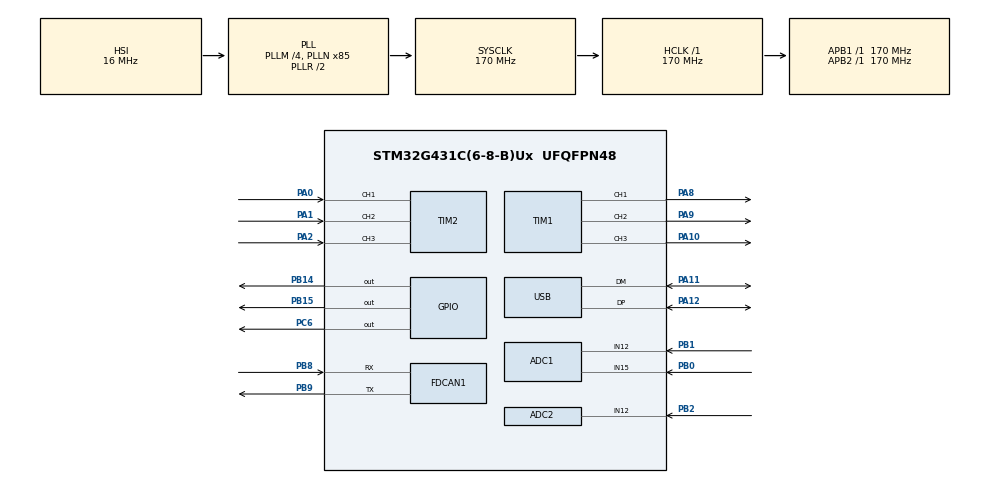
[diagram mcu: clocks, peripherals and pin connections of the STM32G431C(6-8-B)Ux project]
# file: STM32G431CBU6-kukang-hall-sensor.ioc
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ADC1.Channel-0\#ChannelRegularConversion=ADC_CHANNEL_15
ADC1.NbrOfConversionFlag=1
ADC1.OffsetNumber-0\#ChannelRegularConversion=ADC_OFFSET_NONE
ADC1.Rank-0\#ChannelRegularConversion=1
ADC1.SamplingTime-0\#ChannelRegularConversion=ADC_SAMPLETIME_2CYCLES_5
ADC1.master=1
ADC2.Channel-0\#ChannelRegularConversion=ADC_CHANNEL_12
ADC2.NbrOfConversionFlag=1
ADC2.OffsetNumber-0\#ChannelRegularConversion=ADC_OFFSET_NONE
ADC2.Rank-0\#ChannelRegularConversion=1
ADC2.SamplingTime-0\#ChannelRegularConversion=ADC_SAMPLETIME_2CYCLES_5
FDCAN1.CalculateBaudRateNominal=3541666
FDCAN1.CalculateTimeBitNominal=282
FDCAN1.CalculateTimeQuantumNominal=94.11764705882354
Mcu.Family=STM32G4
Mcu.Name=STM32G431C(6-8-B)Ux
Mcu.Package=UFQFPN48
NVIC.CORDIC_IRQn=true\:0\:0\:false\:false\:true\:true\:true\:true
NVIC.FDCAN1_IT0_IRQn=true\:0\:0\:false\:false\:true\:true\:true\:true
NVIC.FDCAN1_IT1_IRQn=true\:0\:0\:false\:false\:true\:true\:true\:true
NVIC.FMAC_IRQn=true\:0\:0\:false\:false\:true\:true\:true\:true
NVIC.PriorityGroup=NVIC_PRIORITYGROUP_4
NVIC.TIM1_BRK_TIM15_IRQn=true\:0\:0\:false\:false\:true\:true\:true\:true
NVIC.TIM1_CC_IRQn=true\:0\:0\:false\:false\:true\:true\:true\:true
NVIC.TIM1_TRG_COM_TIM17_IRQn=true\:0\:0\:false\:false\:true\:true\:true\:true
NVIC.TIM1_UP_TIM16_IRQn=true\:0\:0\:false\:false\:true\:true\:true\:true
NVIC.TIM2_IRQn=true\:0\:0\:false\:false\:true\:true\:true\:true
NVIC.USB_LP_IRQn=true\:0\:0\:false\:false\:true\:false\:true\:true
PA0.Signal=S_TIM2_CH1
PA1.Signal=S_TIM2_CH2
PA10.Signal=S_TIM1_CH3
PA11.Mode=Device
PA11.Signal=USB_DM
PA12.Mode=Device
PA12.Signal=USB_DP
PA13.Mode=Serial_Wire
PA13.Signal=SYS_JTMS-SWDIO
PA14.Mode=Serial_Wire
PA14.Signal=SYS_JTCK-SWCLK
PA2.Signal=S_TIM2_CH3
PA8.Signal=S_TIM1_CH1
PA9.Signal=S_TIM1_CH2
PB0.Mode=IN15-Single-Ended
PB0.Signal=ADC1_IN15
PB1.Mode=IN12-Single-Ended
PB1.Signal=ADC1_IN12
PB14.Signal=GPIO_Output
PB15.Signal=GPIO_Output
PB2.Mode=IN12-Single-Ended
PB2.Signal=ADC2_IN12
PB8-BOOT0.Mode=FDCAN_Activate
PB8-BOOT0.Signal=FDCAN1_RX
PB9.Mode=FDCAN_Activate
PB9.Signal=FDCAN1_TX
PC14-OSC32_IN.Mode=LSE-External-Oscillator
PC14-OSC32_IN.Signal=RCC_OSC32_IN
PC15-OSC32_OUT.Mode=LSE-External-Oscillator
PC15-OSC32_OUT.Signal=RCC_OSC32_OUT
PC6.Signal=GPIO_Output
PF0-OSC_IN.Mode=HSE-External-Oscillator
PF0-OSC_IN.Signal=RCC_OSC_IN
PF1-OSC_OUT.Mode=HSE-External-Oscillator
PF1-OSC_OUT.Signal=RCC_OSC_OUT
ProjectManager.HeapSize=0x200
ProjectManager.StackSize=0x400
ProjectManager.TargetToolchain=STM32CubeIDE
RCC.ADC12Freq_Value=170000000
RCC.AHBFreq_Value=170000000
RCC.APB1Freq_Value=170000000
RCC.APB1TimFreq_Value=170000000
RCC.APB2Freq_Value=170000000
RCC.APB2TimFreq_Value=170000000
RCC.CK48CLockSelection=RCC_USBCLKSOURCE_HSI48
RCC.CortexFreq_Value=170000000
RCC.EXTERNAL_CLOCK_VALUE=12288000
RCC.HCLKFreq_Value=170000000
RCC.HSE_VALUE=8000000
RCC.HSI48_VALUE=48000000
RCC.HSI_VALUE=16000000
RCC.PLLM=RCC_PLLM_DIV4
RCC.PLLN=85
RCC.PLLQ=RCC_PLLQ_DIV4
RCC.SYSCLKFreq_VALUE=170000000
RCC.SYSCLKSource=RCC_SYSCLKSOURCE_PLLCLK
RCC.USBFreq_Value=48000000
RCC.VCOOutputFreq_Value=340000000
SH.S_TIM1_CH1.0=TIM1_CH1,PWM Generation1 CH1
SH.S_TIM1_CH2.0=TIM1_CH2,PWM Generation2 CH2
SH.S_TIM1_CH3.0=TIM1_CH3,PWM Generation3 CH3
SH.S_TIM2_CH1.0=TIM2_CH1,Xored_Inputs_Hall_Sensor_Interface
SH.S_TIM2_CH2.0=TIM2_CH2,Xored_Inputs_Hall_Sensor_Interface
SH.S_TIM2_CH3.0=TIM2_CH3,Xored_Inputs_Hall_Sensor_Interface
TIM1.Channel-PWM\ Generation1\ CH1=TIM_CHANNEL_1
TIM1.Channel-PWM\ Generation2\ CH2=TIM_CHANNEL_2
TIM1.Channel-PWM\ Generation3\ CH3=TIM_CHANNEL_3
TIM1.Channel-PWM\ Generation4\ No\ Output=TIM_CHANNEL_4
USB_DEVICE.CLASS_NAME_FS=CDC
USB_DEVICE.VirtualMode=Cdc
USB_DEVICE.VirtualModeFS=Cdc_FS
VP_CORDIC_VS_CORDIC.Mode=CORDIC_Activate
VP_FMAC_VS_FMAC.Mode=FMAC_Activate
VP_SYS_VS_DBSignals.Mode=DisableDeadBatterySignals
VP_TIM1_VS_no_output4.Mode=PWM Generation4 No Output
VP_USB_DEVICE_VS_USB_DEVICE_CDC_FS.Mode=CDC_FS
board=custom

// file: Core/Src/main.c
/* USER CODE BEGIN Header */
/**
  ******************************************************************************
  * @file           : main.c
  * @brief          : Main program body
  ******************************************************************************
  * @attention
  *
  * Copyright (c) 2026 STMicroelectronics.
  * All rights reserved.
  *
  * This software is licensed under terms that can be found in the LICENSE file
  * in the root directory of this software component.
  * If no LICENSE file comes with this software, it is provided AS-IS.
  *
  ******************************************************************************
  */
/* USER CODE END Header */
#include "main.h"
#include "usb_device.h"

/* USER CODE BEGIN Includes */
#include "config.h"
#include "hub_motor_ebike.h"
#if (CONTROL_ALGORITHM == CONTROL_FOC)
#include "foc.h"
#elif (CONTROL_ALGORITHM == CONTROL_SIX_STEP)
#include "six_step.h"
#endif
/* USER CODE END Includes */

ADC_HandleTypeDef hadc1;
ADC_HandleTypeDef hadc2;

CORDIC_HandleTypeDef hcordic;

FDCAN_HandleTypeDef hfdcan1;

FMAC_HandleTypeDef hfmac;

TIM_HandleTypeDef htim1;
TIM_HandleTypeDef htim2;

/* USER CODE BEGIN PV */
uint8_t usb_rx_buffer[64];
uint8_t usb_rx_index = 0;
uint8_t usb_cmd_ready = 0;
/* USER CODE END PV */

void SystemClock_Config(void);
static void MX_GPIO_Init(void);
static void MX_CORDIC_Init(void);
static void MX_FMAC_Init(void);
static void MX_TIM1_Init(void);
static void MX_ADC1_Init(void);
static void MX_ADC2_Init(void);
static void MX_FDCAN1_Init(void);
static void MX_TIM2_Init(void);
/* USER CODE BEGIN PFP */
void Process_USB_Receive(uint8_t *Buf, uint32_t Len);
void Parse_USB_Command(void);
/* USER CODE END PFP */

/* USER CODE BEGIN 0 */
void Process_USB_Receive(uint8_t *Buf, uint32_t Len) {
  for (uint32_t i = 0; i < Len; i++) {
    if (usb_rx_index < sizeof(usb_rx_buffer) - 1) {
      usb_rx_buffer[usb_rx_index++] = Buf[i];
      if (Buf[i] == '\n' || Buf[i] == '\r') {
        usb_cmd_ready = 1;
      }
    } else {
      usb_rx_index = 0; // Overflow, reset
    }
  }
}

void Parse_USB_Command(void) {
  if (usb_cmd_ready) {
    // Strip trailing \r or \n
    for (int i = 0; i < usb_rx_index; i++) {
      if (usb_rx_buffer[i] == '\r' || usb_rx_buffer[i] == '\n') {
        usb_rx_buffer[i] = '\0';
        break;
      }
    }
    usb_rx_buffer[usb_rx_index] = '\0';

    Config_ParseCommand((char *)usb_rx_buffer);

    usb_rx_index = 0;
    usb_cmd_ready = 0;
  }
}
/* USER CODE END 0 */

int main(void)
{

  /* MCU Configuration--------------------------------------------------------*/

  /* Reset of all peripherals, Initializes the Flash interface and the Systick. */
  HAL_Init();

  /* Configure the system clock */
  SystemClock_Config();

  /* Initialize all configured peripherals */
  MX_GPIO_Init();
  MX_CORDIC_Init();
  MX_FMAC_Init();
  MX_TIM1_Init();
  MX_ADC1_Init();
  MX_ADC2_Init();
  MX_FDCAN1_Init();
  MX_TIM2_Init();
  MX_USB_Device_Init();
  /* USER CODE BEGIN 2 */
  Config_Init();
  Config_ApplyPWMFrequency();

#if (CONTROL_ALGORITHM == CONTROL_FOC)
  FOC_Init();
#elif (CONTROL_ALGORITHM == CONTROL_SIX_STEP)
  SixStep_Init();
#endif

  // Start PWM
  HAL_TIM_PWM_Start(&htim1, TIM_CHANNEL_1);
  HAL_TIM_PWM_Start(&htim1, TIM_CHANNEL_2);
  HAL_TIM_PWM_Start(&htim1, TIM_CHANNEL_3);

  // Enable DWT Cycle Counter (optional, good for profiling)
  CoreDebug->DEMCR |= CoreDebug_DEMCR_TRCENA_Msk;
  DWT->CYCCNT = 0;
  DWT->CTRL |= DWT_CTRL_CYCCNTENA_Msk;

  uint32_t last_verbose_time = HAL_GetTick();
  /* USER CODE END 2 */

  /* Infinite loop */
  while (1)
  {

    /* USER CODE BEGIN 3 */
#if (CONTROL_ALGORITHM == CONTROL_FOC)
    FOC_Update();
#elif (CONTROL_ALGORITHM == CONTROL_SIX_STEP)
    SixStep_Update();
#endif

    Parse_USB_Command();

    if (motor_config.verbose_output == 1) {
      if (HAL_GetTick() - last_verbose_time >= motor_config.verbose_period) {
        last_verbose_time = HAL_GetTick();
#if (CONTROL_ALGORITHM == CONTROL_FOC)
        FOC_PrintVerbose();
#elif (CONTROL_ALGORITHM == CONTROL_SIX_STEP)
        SixStep_PrintVerbose();
#endif
      }
    }
  }
  /* USER CODE END 3 */
}

void SystemClock_Config(void)
{
  RCC_OscInitTypeDef RCC_OscInitStruct = {0};
  RCC_ClkInitTypeDef RCC_ClkInitStruct = {0};

  /** Configure the main internal regulator output voltage
  */
  HAL_PWREx_ControlVoltageScaling(PWR_REGULATOR_VOLTAGE_SCALE1_BOOST);

  /** Initializes the RCC Oscillators according to the specified parameters
  * in the RCC_OscInitTypeDef structure.
  */
  RCC_OscInitStruct.OscillatorType = RCC_OSCILLATORTYPE_HSI|RCC_OSCILLATORTYPE_HSI48;
  RCC_OscInitStruct.HSIState = RCC_HSI_ON;
  RCC_OscInitStruct.HSICalibrationValue = RCC_HSICALIBRATION_DEFAULT;
  RCC_OscInitStruct.HSI48State = RCC_HSI48_ON;
  RCC_OscInitStruct.PLL.PLLState = RCC_PLL_ON;
  RCC_OscInitStruct.PLL.PLLSource = RCC_PLLSOURCE_HSI;
  RCC_OscInitStruct.PLL.PLLM = RCC_PLLM_DIV4;
  RCC_OscInitStruct.PLL.PLLN = 85;
  RCC_OscInitStruct.PLL.PLLP = RCC_PLLP_DIV2;
  RCC_OscInitStruct.PLL.PLLQ = RCC_PLLQ_DIV4;
  RCC_OscInitStruct.PLL.PLLR = RCC_PLLR_DIV2;
  if (HAL_RCC_OscConfig(&RCC_OscInitStruct) != HAL_OK)
  {
    Error_Handler();
  }

  /** Initializes the CPU, AHB and APB buses clocks
  */
  RCC_ClkInitStruct.ClockType = RCC_CLOCKTYPE_HCLK|RCC_CLOCKTYPE_SYSCLK
                              |RCC_CLOCKTYPE_PCLK1|RCC_CLOCKTYPE_PCLK2;
  RCC_ClkInitStruct.SYSCLKSource = RCC_SYSCLKSOURCE_PLLCLK;
  RCC_ClkInitStruct.AHBCLKDivider = RCC_SYSCLK_DIV1;
  RCC_ClkInitStruct.APB1CLKDivider = RCC_HCLK_DIV1;
  RCC_ClkInitStruct.APB2CLKDivider = RCC_HCLK_DIV1;

  if (HAL_RCC_ClockConfig(&RCC_ClkInitStruct, FLASH_LATENCY_4) != HAL_OK)
  {
    Error_Handler();
  }
}

static void MX_ADC1_Init(void)
{

  ADC_MultiModeTypeDef multimode = {0};
  ADC_ChannelConfTypeDef sConfig = {0};

  /** Common config
  */
  hadc1.Instance = ADC1;
  hadc1.Init.ClockPrescaler = ADC_CLOCK_SYNC_PCLK_DIV4;
  hadc1.Init.Resolution = ADC_RESOLUTION_12B;
  hadc1.Init.DataAlign = ADC_DATAALIGN_RIGHT;
  hadc1.Init.GainCompensation = 0;
  hadc1.Init.ScanConvMode = ADC_SCAN_DISABLE;
  hadc1.Init.EOCSelection = ADC_EOC_SINGLE_CONV;
  hadc1.Init.LowPowerAutoWait = DISABLE;
  hadc1.Init.ContinuousConvMode = DISABLE;
  hadc1.Init.NbrOfConversion = 1;
  hadc1.Init.DiscontinuousConvMode = DISABLE;
  hadc1.Init.ExternalTrigConv = ADC_SOFTWARE_START;
  hadc1.Init.ExternalTrigConvEdge = ADC_EXTERNALTRIGCONVEDGE_NONE;
  hadc1.Init.DMAContinuousRequests = DISABLE;
  hadc1.Init.Overrun = ADC_OVR_DATA_PRESERVED;
  hadc1.Init.OversamplingMode = DISABLE;
  if (HAL_ADC_Init(&hadc1) != HAL_OK)
  {
    Error_Handler();
  }

  /** Configure the ADC multi-mode
  */
  multimode.Mode = ADC_MODE_INDEPENDENT;
  if (HAL_ADCEx_MultiModeConfigChannel(&hadc1, &multimode) != HAL_OK)
  {
    Error_Handler();
  }

  /** Configure Regular Channel
  */
  sConfig.Channel = ADC_CHANNEL_15;
  sConfig.Rank = ADC_REGULAR_RANK_1;
  sConfig.SamplingTime = ADC_SAMPLETIME_2CYCLES_5;
  sConfig.SingleDiff = ADC_SINGLE_ENDED;
  sConfig.OffsetNumber = ADC_OFFSET_NONE;
  sConfig.Offset = 0;
  if (HAL_ADC_ConfigChannel(&hadc1, &sConfig) != HAL_OK)
  {
    Error_Handler();
  }

}

static void MX_ADC2_Init(void)
{

  ADC_ChannelConfTypeDef sConfig = {0};

  /** Common config
  */
  hadc2.Instance = ADC2;
  hadc2.Init.ClockPrescaler = ADC_CLOCK_SYNC_PCLK_DIV4;
  hadc2.Init.Resolution = ADC_RESOLUTION_12B;
  hadc2.Init.DataAlign = ADC_DATAALIGN_RIGHT;
  hadc2.Init.GainCompensation = 0;
  hadc2.Init.ScanConvMode = ADC_SCAN_DISABLE;
  hadc2.Init.EOCSelection = ADC_EOC_SINGLE_CONV;
  hadc2.Init.LowPowerAutoWait = DISABLE;
  hadc2.Init.ContinuousConvMode = DISABLE;
  hadc2.Init.NbrOfConversion = 1;
  hadc2.Init.DiscontinuousConvMode = DISABLE;
  hadc2.Init.ExternalTrigConv = ADC_SOFTWARE_START;
  hadc2.Init.ExternalTrigConvEdge = ADC_EXTERNALTRIGCONVEDGE_NONE;
  hadc2.Init.DMAContinuousRequests = DISABLE;
  hadc2.Init.Overrun = ADC_OVR_DATA_PRESERVED;
  hadc2.Init.OversamplingMode = DISABLE;
  if (HAL_ADC_Init(&hadc2) != HAL_OK)
  {
    Error_Handler();
  }

  /** Configure Regular Channel
  */
  sConfig.Channel = ADC_CHANNEL_12;
  sConfig.Rank = ADC_REGULAR_RANK_1;
  sConfig.SamplingTime = ADC_SAMPLETIME_2CYCLES_5;
  sConfig.SingleDiff = ADC_SINGLE_ENDED;
  sConfig.OffsetNumber = ADC_OFFSET_NONE;
  sConfig.Offset = 0;
  if (HAL_ADC_ConfigChannel(&hadc2, &sConfig) != HAL_OK)
  {
    Error_Handler();
  }

}

static void MX_CORDIC_Init(void)
{

  hcordic.Instance = CORDIC;
  if (HAL_CORDIC_Init(&hcordic) != HAL_OK)
  {
    Error_Handler();
  }

}

static void MX_FDCAN1_Init(void)
{

  hfdcan1.Instance = FDCAN1;
  hfdcan1.Init.ClockDivider = FDCAN_CLOCK_DIV1;
  hfdcan1.Init.FrameFormat = FDCAN_FRAME_CLASSIC;
  hfdcan1.Init.Mode = FDCAN_MODE_NORMAL;
  hfdcan1.Init.AutoRetransmission = DISABLE;
  hfdcan1.Init.TransmitPause = DISABLE;
  hfdcan1.Init.ProtocolException = DISABLE;
  hfdcan1.Init.NominalPrescaler = 16;
  hfdcan1.Init.NominalSyncJumpWidth = 1;
  hfdcan1.Init.NominalTimeSeg1 = 1;
  hfdcan1.Init.NominalTimeSeg2 = 1;
  hfdcan1.Init.DataPrescaler = 1;
  hfdcan1.Init.DataSyncJumpWidth = 1;
  hfdcan1.Init.DataTimeSeg1 = 1;
  hfdcan1.Init.DataTimeSeg2 = 1;
  hfdcan1.Init.StdFiltersNbr = 0;
  hfdcan1.Init.ExtFiltersNbr = 0;
  hfdcan1.Init.TxFifoQueueMode = FDCAN_TX_FIFO_OPERATION;
  if (HAL_FDCAN_Init(&hfdcan1) != HAL_OK)
  {
    Error_Handler();
  }

}

static void MX_FMAC_Init(void)
{

  hfmac.Instance = FMAC;
  if (HAL_FMAC_Init(&hfmac) != HAL_OK)
  {
    Error_Handler();
  }

}

static void MX_TIM1_Init(void)
{

  TIM_MasterConfigTypeDef sMasterConfig = {0};
  TIM_OC_InitTypeDef sConfigOC = {0};
  TIM_BreakDeadTimeConfigTypeDef sBreakDeadTimeConfig = {0};

  htim1.Instance = TIM1;
  htim1.Init.Prescaler = 0;
  htim1.Init.CounterMode = TIM_COUNTERMODE_UP;
  htim1.Init.Period = 65535;
  htim1.Init.ClockDivision = TIM_CLOCKDIVISION_DIV1;
  htim1.Init.RepetitionCounter = 0;
  htim1.Init.AutoReloadPreload = TIM_AUTORELOAD_PRELOAD_DISABLE;
  if (HAL_TIM_PWM_Init(&htim1) != HAL_OK)
  {
    Error_Handler();
  }
  sMasterConfig.MasterOutputTrigger = TIM_TRGO_RESET;
  sMasterConfig.MasterOutputTrigger2 = TIM_TRGO2_RESET;
  sMasterConfig.MasterSlaveMode = TIM_MASTERSLAVEMODE_DISABLE;
  if (HAL_TIMEx_MasterConfigSynchronization(&htim1, &sMasterConfig) != HAL_OK)
  {
    Error_Handler();
  }
  sConfigOC.OCMode = TIM_OCMODE_PWM1;
  sConfigOC.Pulse = 0;
  sConfigOC.OCPolarity = TIM_OCPOLARITY_HIGH;
  sConfigOC.OCNPolarity = TIM_OCNPOLARITY_HIGH;
  sConfigOC.OCFastMode = TIM_OCFAST_DISABLE;
  sConfigOC.OCIdleState = TIM_OCIDLESTATE_RESET;
  sConfigOC.OCNIdleState = TIM_OCNIDLESTATE_RESET;
  if (HAL_TIM_PWM_ConfigChannel(&htim1, &sConfigOC, TIM_CHANNEL_1) != HAL_OK)
  {
    Error_Handler();
  }
  if (HAL_TIM_PWM_ConfigChannel(&htim1, &sConfigOC, TIM_CHANNEL_2) != HAL_OK)
  {
    Error_Handler();
  }
  if (HAL_TIM_PWM_ConfigChannel(&htim1, &sConfigOC, TIM_CHANNEL_3) != HAL_OK)
  {
    Error_Handler();
  }
  if (HAL_TIM_PWM_ConfigChannel(&htim1, &sConfigOC, TIM_CHANNEL_4) != HAL_OK)
  {
    Error_Handler();
  }
  sBreakDeadTimeConfig.OffStateRunMode = TIM_OSSR_DISABLE;
  sBreakDeadTimeConfig.OffStateIDLEMode = TIM_OSSI_DISABLE;
  sBreakDeadTimeConfig.LockLevel = TIM_LOCKLEVEL_OFF;
  sBreakDeadTimeConfig.DeadTime = 0;
  sBreakDeadTimeConfig.BreakState = TIM_BREAK_DISABLE;
  sBreakDeadTimeConfig.BreakPolarity = TIM_BREAKPOLARITY_HIGH;
  sBreakDeadTimeConfig.BreakFilter = 0;
  sBreakDeadTimeConfig.BreakAFMode = TIM_BREAK_AFMODE_INPUT;
  sBreakDeadTimeConfig.Break2State = TIM_BREAK2_DISABLE;
  sBreakDeadTimeConfig.Break2Polarity = TIM_BREAK2POLARITY_HIGH;
  sBreakDeadTimeConfig.Break2Filter = 0;
  sBreakDeadTimeConfig.Break2AFMode = TIM_BREAK_AFMODE_INPUT;
  sBreakDeadTimeConfig.AutomaticOutput = TIM_AUTOMATICOUTPUT_DISABLE;
  if (HAL_TIMEx_ConfigBreakDeadTime(&htim1, &sBreakDeadTimeConfig) != HAL_OK)
  {
    Error_Handler();
  }
  HAL_TIM_MspPostInit(&htim1);

}

static void MX_TIM2_Init(void)
{

  TIM_HallSensor_InitTypeDef sConfig = {0};
  TIM_MasterConfigTypeDef sMasterConfig = {0};

  htim2.Instance = TIM2;
  htim2.Init.Prescaler = 0;
  htim2.Init.CounterMode = TIM_COUNTERMODE_UP;
  htim2.Init.Period = 4294967295;
  htim2.Init.ClockDivision = TIM_CLOCKDIVISION_DIV1;
  htim2.Init.AutoReloadPreload = TIM_AUTORELOAD_PRELOAD_DISABLE;
  sConfig.IC1Polarity = TIM_ICPOLARITY_RISING;
  sConfig.IC1Prescaler = TIM_ICPSC_DIV1;
  sConfig.IC1Filter = 0;
  sConfig.Commutation_Delay = 0;
  if (HAL_TIMEx_HallSensor_Init(&htim2, &sConfig) != HAL_OK)
  {
    Error_Handler();
  }
  sMasterConfig.MasterOutputTrigger = TIM_TRGO_OC2REF;
  sMasterConfig.MasterSlaveMode = TIM_MASTERSLAVEMODE_DISABLE;
  if (HAL_TIMEx_MasterConfigSynchronization(&htim2, &sMasterConfig) != HAL_OK)
  {
    Error_Handler();
  }

}

static void MX_GPIO_Init(void)
{
  GPIO_InitTypeDef GPIO_InitStruct = {0};

  /* GPIO Ports Clock Enable */
  __HAL_RCC_GPIOC_CLK_ENABLE();
  __HAL_RCC_GPIOF_CLK_ENABLE();
  __HAL_RCC_GPIOA_CLK_ENABLE();
  __HAL_RCC_GPIOB_CLK_ENABLE();

  /*Configure GPIO pin Output Level */
  HAL_GPIO_WritePin(GPIOB, GPIO_PIN_14|GPIO_PIN_15, GPIO_PIN_RESET);

  /*Configure GPIO pin Output Level */
  HAL_GPIO_WritePin(GPIOC, GPIO_PIN_6, GPIO_PIN_RESET);

  /*Configure GPIO pins : PB14 PB15 */
  GPIO_InitStruct.Pin = GPIO_PIN_14|GPIO_PIN_15;
  GPIO_InitStruct.Mode = GPIO_MODE_OUTPUT_PP;
  GPIO_InitStruct.Pull = GPIO_NOPULL;
  GPIO_InitStruct.Speed = GPIO_SPEED_FREQ_LOW;
  HAL_GPIO_Init(GPIOB, &GPIO_InitStruct);

  /*Configure GPIO pin : PC6 */
  GPIO_InitStruct.Pin = GPIO_PIN_6;
  GPIO_InitStruct.Mode = GPIO_MODE_OUTPUT_PP;
  GPIO_InitStruct.Pull = GPIO_NOPULL;
  GPIO_InitStruct.Speed = GPIO_SPEED_FREQ_LOW;
  HAL_GPIO_Init(GPIOC, &GPIO_InitStruct);

}

/* USER CODE BEGIN 4 */
void enable_mosfet(void) {
  HAL_GPIO_WritePin(GPIOB, GPIO_PIN_14 | GPIO_PIN_15, GPIO_PIN_SET);
  HAL_GPIO_WritePin(GPIOC, GPIO_PIN_6, GPIO_PIN_SET);
#if (CONTROL_ALGORITHM == CONTROL_FOC)
  foc.enabled = 1;
#endif
}

void disable_mosfet(void) {
  HAL_GPIO_WritePin(GPIOB, GPIO_PIN_14 | GPIO_PIN_15, GPIO_PIN_RESET);
  HAL_GPIO_WritePin(GPIOC, GPIO_PIN_6, GPIO_PIN_RESET);
#if (CONTROL_ALGORITHM == CONTROL_FOC)
  foc.enabled = 0;
#endif
}
/* USER CODE END 4 */

void Error_Handler(void)
{
  __disable_irq();
  while (1)
  {
  }
}
